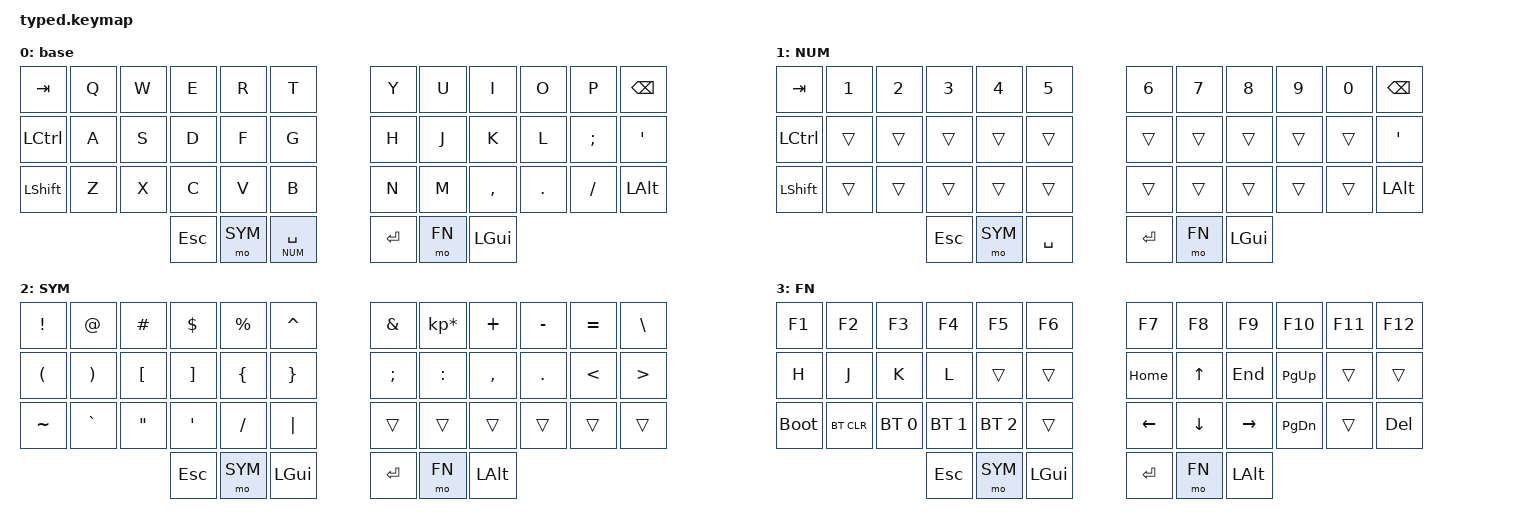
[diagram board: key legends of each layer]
/*
 * Copyright (c) 2024 Your Name
 * SPDX-License-Identifier: MIT
 */

#include <behaviors.dtsi>
#include <dt-bindings/zmk/keys.h>
#include <dt-bindings/zmk/bt.h>

#define BASE 0
#define NUM  1
#define SYM  2
#define FN   3

#define TAPPING_TERM 200

/ {
    // Define custom behaviors for Mod-Tap
    behaviors {
        // --- Mod-Taps (Hold for Mod, Tap for Key) ---
        // Uses the "balanced" flavor for better performance on home row.
        homerow_mod: mod_tap_balanced {
            compatible = "zmk,behavior-hold-tap";
            label = "HOMEROW_MOD";
            bindings = <&kp>, <&kp>;
            #binding-cells = <2>;
            tapping-term-ms = <TAPPING_TERM>;
            quick-tap-ms = <TAPPING_TERM>; // Allows tapping again quickly after holding
            flavor = "balanced";           // Prioritizes the hold action slightly
            require-prior-idle-ms = <150>; // Helps prevent accidental mods during fast typing
        };

        // --- Number keys with Ctrl modifier on hold ---
        num_ctrl: num_ctrl_tap {
            compatible = "zmk,behavior-hold-tap";
            label = "NUM_CTRL";
            bindings = <&kp>, <&kp>;
            #binding-cells = <2>;
            tapping-term-ms = <200>;
            flavor = "tap-preferred";
        };
    };

    // Define the keymap structure
    keymap {
        compatible = "zmk,keymap";

        base_layer {
            display-name = "base";
            bindings = <
// ─────────────────────────────────────────────────────────────────────────────────────
// │ TAB  │  Q  │  W  │  E  │  R  │  T  │                │  Y  │  U  │  I  │  O  │  P  │BSPC │
// │CTRL  │  A  │  S  │  D  │  F  │  G  │                │  H  │  J  │  K  │  L  │  ;  │  '  │
// │SHIFT │  Z  │  X  │  C  │  V  │  B  │      │ │      │  N  │  M  │  ,  │  .  │  /  │SHIFT│
// ───────────────────────────────────────────────────────────────────────────────────────
// (Hold space for numbers on QWERTY row)
    &kp TAB           &kp Q                 &kp W   &kp E        &kp R        &kp T                  &kp Y   &kp U &kp I     &kp O   &kp P    &kp BSPC
    &kp LCTRL         &kp A                 &kp S   &kp D        &kp F        &kp G                  &kp H   &kp J &kp K     &kp L   &kp SEMI &kp SQT
    &kp LSHIFT        &kp Z                 &kp X   &kp C        &kp V        &kp B                  &kp N   &kp M   &kp COMMA &kp DOT &kp FSLH &kp LALT
                                                     &kp ESC     &mo SYM      &lt NUM SPACE          &kp RET &mo FN &kp LGUI
            >;
        };

        num_layer {
            display-name = "NUM";
            bindings = <
// ─────────────────────────────────────────────────────────────────────────────────────
// │ TAB  │  1  │  2  │  3  │  4  │  5  │                │  6  │  7  │  8  │  9  │  0  │BSPC │
// │CTRL  │     │     │     │     │     │                │     │     │     │     │     │  '  │
// │SHIFT │     │     │     │     │     │      │ │      │     │     │     │     │     │SHIFT│
// ───────────────────────────────────────────────────────────────────────────────────────
    &kp TAB           &kp N1                &kp N2  &kp N3       &kp N4       &kp N5                 &kp N6  &kp N7 &kp N8    &kp N9  &kp N0   &kp BSPC
    &kp LCTRL         &trans                &trans  &trans       &trans       &trans                 &trans  &trans &trans    &trans  &trans   &kp SQT
    &kp LSHIFT        &trans                &trans  &trans       &trans       &trans                 &trans  &trans &trans    &trans  &trans   &kp LALT
                                                     &kp ESC     &mo SYM      &kp SPACE              &kp RET &mo FN &kp LGUI
            >;
        };

        sym_layer {
            display-name = "SYM"; // Symbols
            bindings = <
// ─────────────────────────────────────────────────────────────────────────────────────
// │  !  │  @  │  #  │  $  │  %  │  ^  │                │  &  │  *  │  +  │  -  │  =  │  \  │
// │  (  │  )  │  [  │  ]  │  {  │  }  │                │  ;  │  :  │  ,  │  .  │  <  │  >  │
// │  ~  │  `  │  "  │  '  │  /  │  |  │      │ │      │      │      │      │      │      │      │
// ───────────────────────────────────────────────────────────────────────────────────────
    &kp EXCL             &kp AT               &kp HASH             &kp DLLR             &kp PRCNT            &kp CARET              &kp AMPS             &kp KP_MULTIPLY      &kp PLUS             &kp MINUS            &kp EQUAL            &kp BSLH
    &kp LPAR             &kp RPAR             &kp LBKT             &kp RBKT             &kp LBRC             &kp RBRC               &kp SEMI             &kp COLON            &kp COMMA            &kp DOT              &kp LT               &kp GT
    &kp TILDE            &kp GRAVE            &kp DQT              &kp SQT              &kp FSLH             &kp PIPE               &trans               &trans               &trans               &trans               &trans               &trans
                                                                    &kp ESC              &mo SYM              &kp LGUI                 &kp RET              &mo FN               &kp LALT
            >;
        };

        fn_layer {
            display-name = "FN"; // Functions & Navigation
            bindings = <
// ─────────────────────────────────────────────────────────────────────────────────────
// │ F1  │ F2  │ F3  │ F4  │ F5  │ F6  │                │ F7  │ F8  │ F9  │ F10 │ F11 │ F12 │
// │  H  │  J  │  K  │  L  │      │      │                │HOME │  ↑  │ END │PGUP │      │      │
// │BOOT │CLRBT│ BT1 │ BT2 │ BT3 │      │      │ │      │  ←  │  ↓  │  →  │PGDN │      │ DEL │
// ───────────────────────────────────────────────────────────────────────────────────────
//                       │ ESC │ SYM │ CMD │          │  :  │ FN  │ OPT │
    &kp F1            &kp F2                &kp F3   &kp F4       &kp F5       &kp F6                 &kp F7  &kp F8 &kp F9   &kp F10 &kp F11  &kp F12
    &kp H             &kp J                 &kp K    &kp L        &trans       &trans                 &kp HOME &kp UP &kp END &kp PG_UP &trans &trans
    &bootloader       &bt BT_CLR            &bt BT_SEL 0 &bt BT_SEL 1 &bt BT_SEL 2 &trans &kp LEFT  &kp DOWN &kp RIGHT &kp PG_DN &trans &kp DEL
                                                      &kp ESC     &mo SYM      &kp LGUI               &kp RET &mo FN &kp LALT
            >;
        };
    };
};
